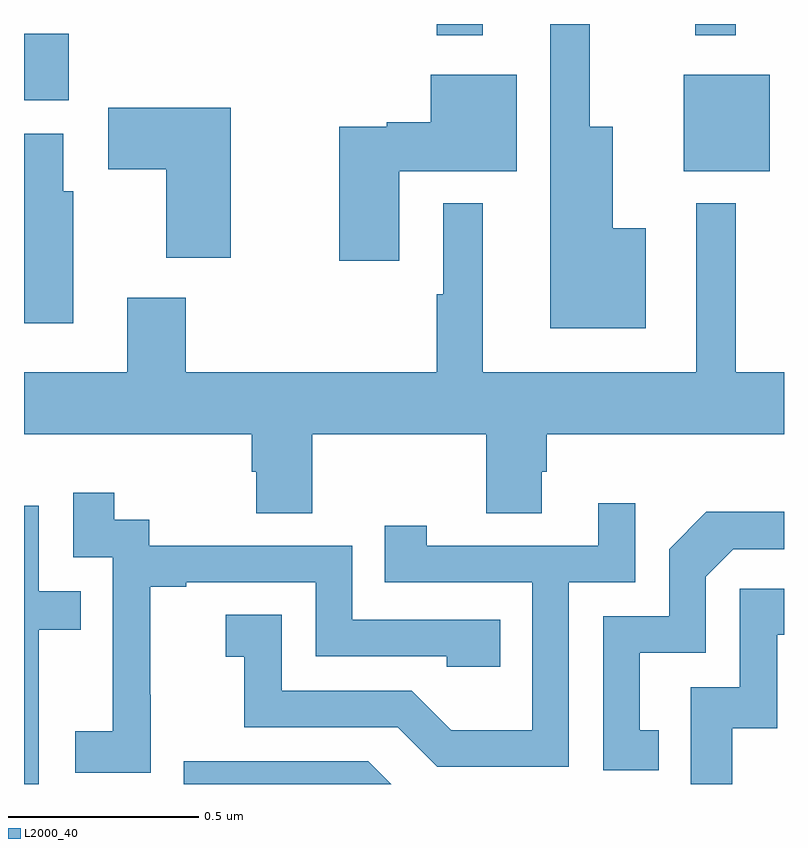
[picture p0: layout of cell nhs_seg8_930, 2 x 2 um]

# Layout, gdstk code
import gdstk
lib = gdstk.Library(unit=1e-6, precision=1e-09)
def R(c, l, rs):  # rectangles x0, y0, x1, y1
    for r in rs: c.add(gdstk.rectangle(r[:2], r[2:], *l))
def P(c, l, *ps):  # polygons
    for p in ps: c.add(gdstk.Polygon(p, *l))
L2000_40 = (2000, 40)

nhs_seg8_930 = lib.new_cell('nhs_seg8_930')
R(nhs_seg8_930, L2000_40, [(124.736,1130.513,124.963,1130.767), (123,1130.7,123.118,1130.875), (124.086,1130.871,124.207,1130.9), (124.767,1130.871,124.873,1130.9)])
P(nhs_seg8_930, L2000_40, [(124.636,1130.362),(124.549,1130.362),(124.549,1130.629),(124.489,1130.629),(124.489,1130.9),(124.385,1130.9),(124.385,1130.099),(124.636,1130.099)],
  [(123.988,1130.513),(124.297,1130.513),(124.297,1130.767),(124.07,1130.767),(124.07,1130.642),(123.954,1130.642),(123.954,1130.629),(123.83,1130.629),(123.83,1130.277),(123.988,1130.277)],
  [(123.544,1130.68),(123.222,1130.68),(123.222,1130.518),(123.374,1130.518),(123.374,1130.285),(123.544,1130.285)],
  [(123.13,1130.46),(123.103,1130.46),(123.103,1130.611),(123,1130.611),(123,1130.112),(123.13,1130.112)],
  [(123.759,1129.82),(124.216,1129.82),(124.216,1129.612),(124.363,1129.612),(124.363,1129.722),(124.376,1129.722),(124.376,1129.82),(125,1129.82),(125,1129.984),(124.873,1129.984),(124.873,1130.428),(124.769,1130.428),(124.769,1129.984),(124.207,1129.984),(124.207,1130.428),(124.103,1130.428),(124.103,1130.189),(124.086,1130.189),(124.086,1129.984),(123.425,1129.984),(123.425,1130.179),(123.272,1130.179),(123.272,1129.984),(123,1129.984),(123,1129.82),(123.599,1129.82),(123.599,1129.722),(123.611,1129.722),(123.611,1129.612),(123.759,1129.612)],
  [(123.333,1129.135),(123.332,1129.135),(123.332,1129.419),(123.427,1129.419),(123.427,1129.431),(123.768,1129.431),(123.768,1129.236),(124.113,1129.236),(124.113,1129.209),(124.253,1129.209),(124.253,1129.332),(123.864,1129.332),(123.864,1129.527),(123.33,1129.527),(123.33,1129.596),(123.238,1129.596),(123.238,1129.666),(123.129,1129.666),(123.129,1129.497),(123.234,1129.497),(123.234,1129.268),(123.233,1129.268),(123.233,1129.039),(123.135,1129.039),(123.135,1128.929),(123.333,1128.929)],
  [(124.434,1129.431),(124.608,1129.431),(124.608,1129.639),(124.511,1129.639),(124.511,1129.527),(124.06,1129.527),(124.06,1129.579),(123.949,1129.579),(123.949,1129.431),(124.338,1129.431),(124.338,1129.042),(124.124,1129.042),(124.02,1129.146),(123.678,1129.146),(123.678,1129.345),(123.531,1129.345),(123.531,1129.235),(123.58,1129.235),(123.58,1129.05),(123.983,1129.05),(124.088,1128.945),(124.434,1128.945)],
  [(123.039,1129.306),(123.149,1129.306),(123.149,1129.407),(123.039,1129.407),(123.039,1129.632),(123,1129.632),(123,1128.9),(123.039,1128.9)],
  [(124.67,1129.041),(124.621,1129.041),(124.621,1129.245),(124.794,1129.245),(124.794,1129.446),(124.866,1129.518),(125,1129.518),(125,1129.616),(124.796,1129.616),(124.698,1129.518),(124.698,1129.341),(124.524,1129.341),(124.524,1128.936),(124.67,1128.936)],
  [(124.864,1129.047),(124.982,1129.047),(124.982,1129.293),(125,1129.293),(125,1129.414),(124.884,1129.414),(124.884,1129.155),(124.755,1129.155),(124.755,1128.9),(124.864,1128.9)],
  [(123.906,1128.96),(123.42,1128.96),(123.42,1128.9),(123.966,1128.9)])

lib.write_gds('nhs_seg8_930.gds')
